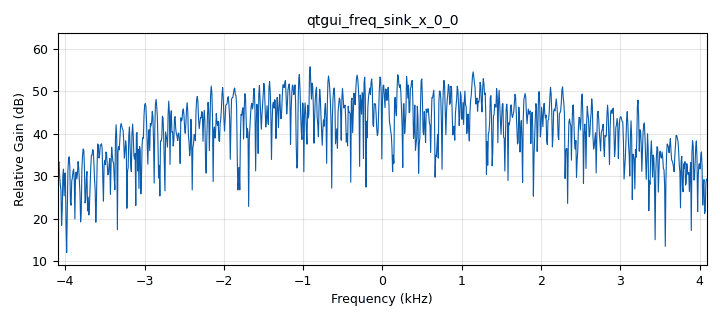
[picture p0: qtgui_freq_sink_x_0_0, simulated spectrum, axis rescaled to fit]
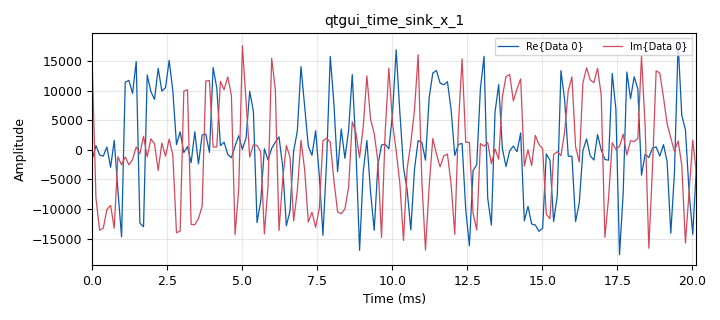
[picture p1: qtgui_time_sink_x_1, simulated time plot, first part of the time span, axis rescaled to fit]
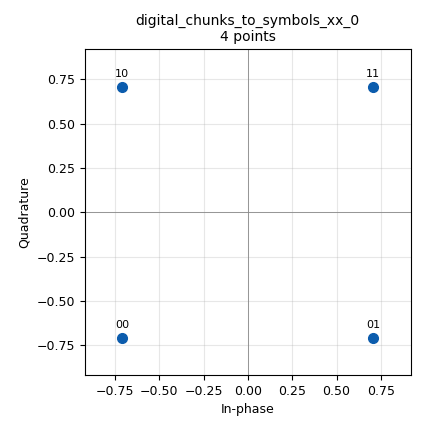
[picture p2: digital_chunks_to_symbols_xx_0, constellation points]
<?xml version='1.0' encoding='utf-8'?>
<?grc format='1' created='3.7.12'?>
<flow_graph>
<block>
<key>options</key>
<param><key>id</key><value>top_block</value></param>
<param><key>generate_options</key><value>qt_gui</value></param>
</block>
<block>
<key>variable</key>
<param><key>id</key><value>amp</value></param>
<param><key>value</key><value>8192</value></param>
</block>
<block>
<key>variable_qtgui_range</key>
<param><key>id</key><value>cf</value></param>
<param><key>value</key><value>100</value></param>
<param><key>orient</key><value>Qt.Horizontal</value></param>
<param><key>start</key><value>-samp_rate/2</value></param>
<param><key>step</key><value>1</value></param>
<param><key>stop</key><value>samp_rate/2</value></param>
</block>
<block>
<key>variable_constellation</key>
<param><key>id</key><value>cons</value></param>
<param><key>type</key><value>qpsk</value></param>
<param><key>precision</key><value>8</value></param>
</block>
<block>
<key>variable_qtgui_range</key>
<param><key>id</key><value>eps</value></param>
<param><key>value</key><value>0.01</value></param>
<param><key>orient</key><value>Qt.Horizontal</value></param>
<param><key>start</key><value>-2e-2</value></param>
<param><key>step</key><value>1e-5</value></param>
<param><key>stop</key><value>2e-2</value></param>
</block>
<block>
<key>variable_qtgui_range</key>
<param><key>id</key><value>noise</value></param>
<param><key>value</key><value>0.3</value></param>
<param><key>orient</key><value>Qt.Horizontal</value></param>
<param><key>start</key><value>0</value></param>
<param><key>step</key><value>0.01</value></param>
<param><key>stop</key><value>2</value></param>
</block>
<block>
<key>variable</key>
<param><key>id</key><value>npsk</value></param>
<param><key>value</key><value>cons.arity()</value></param>
</block>
<block>
<key>variable</key>
<param><key>id</key><value>samp_rate</value></param>
<param><key>value</key><value>1024*8</value></param>
</block>
<block>
<key>variable</key>
<param><key>id</key><value>sps</value></param>
<param><key>value</key><value>2</value></param>
</block>
<block>
<key>analog_random_source_x</key>
<param><key>id</key><value>analog_random_source_x_0</value></param>
<param><key>max</key><value>npsk</value></param>
<param><key>min</key><value>0</value></param>
<param><key>num_samps</key><value>1000</value></param>
<param><key>type</key><value>byte</value></param>
<param><key>repeat</key><value>True</value></param>
</block>
<block>
<key>blocks_complex_to_interleaved_short</key>
<param><key>id</key><value>blocks_complex_to_interleaved_short_0</value></param>
<param><key>vector_output</key><value>True</value></param>
</block>
<block>
<key>blocks_head</key>
<param><key>id</key><value>blocks_head_0</value></param>
<param><key>_enabled</key><value>2</value></param>
<param><key>num_items</key><value>samp_rate</value></param>
<param><key>type</key><value>short</value></param>
<param><key>vlen</key><value>2</value></param>
</block>
<block>
<key>blocks_interleaved_short_to_complex</key>
<param><key>id</key><value>blocks_interleaved_short_to_complex_0</value></param>
<param><key>vector_input</key><value>True</value></param>
</block>
<block>
<key>blocks_interleaved_short_to_complex</key>
<param><key>id</key><value>blocks_interleaved_short_to_complex_0_0</value></param>
<param><key>_enabled</key><value>0</value></param>
<param><key>vector_input</key><value>True</value></param>
</block>
<block>
<key>blocks_message_debug</key>
<param><key>id</key><value>blocks_message_debug_0</value></param>
</block>
<block>
<key>blocks_multiply_const_vxx</key>
<param><key>id</key><value>blocks_multiply_const_vxx_0</value></param>
<param><key>const</key><value>amp</value></param>
<param><key>type</key><value>complex</value></param>
</block>
<block>
<key>blocks_null_sink</key>
<param><key>id</key><value>blocks_null_sink_0</value></param>
<param><key>bus_conns</key><value>[[0,],]</value></param>
<param><key>_enabled</key><value>0</value></param>
<param><key>type</key><value>short</value></param>
<param><key>vlen</key><value>2</value></param>
</block>
<block>
<key>blocks_probe_rate</key>
<param><key>id</key><value>blocks_probe_rate_0</value></param>
<param><key>type</key><value>complex</value></param>
<param><key>mintime</key><value>500.0</value></param>
<param><key>alpha</key><value>0.15</value></param>
</block>
<block>
<key>blocks_repeat</key>
<param><key>id</key><value>blocks_repeat_0</value></param>
<param><key>interp</key><value>sps</value></param>
<param><key>type</key><value>complex</value></param>
</block>
<block>
<key>blocks_throttle</key>
<param><key>id</key><value>blocks_throttle_0</value></param>
<param><key>_enabled</key><value>2</value></param>
<param><key>samples_per_second</key><value>samp_rate</value></param>
<param><key>type</key><value>short</value></param>
<param><key>vlen</key><value>2</value></param>
</block>
<block>
<key>blocks_vector_source_x</key>
<param><key>id</key><value>blocks_vector_source_x_0</value></param>
<param><key>_enabled</key><value>0</value></param>
<param><key>type</key><value>byte</value></param>
<param><key>repeat</key><value>True</value></param>
<param><key>vector</key><value>range(0,npsk)</value></param>
</block>
<block>
<key>channels_channel_model</key>
<param><key>id</key><value>channels_channel_model_0_0</value></param>
<param><key>epsilon</key><value>1.0+eps</value></param>
<param><key>freq_offset</key><value>cf/samp_rate</value></param>
<param><key>noise_voltage</key><value>noise</value></param>
<param><key>seed</key><value>0</value></param>
<param><key>taps</key><value>1.0+1.0j</value></param>
</block>
<block>
<key>digital_chunks_to_symbols_xx</key>
<param><key>id</key><value>digital_chunks_to_symbols_xx_0</value></param>
<param><key>dimension</key><value>1</value></param>
<param><key>in_type</key><value>byte</value></param>
<param><key>out_type</key><value>complex</value></param>
<param><key>symbol_table</key><value>cons.points()</value></param>
</block>
<block>
<key>fastpsk_agc</key>
<param><key>id</key><value>fastpsk_agc_0</value></param>
<param><key>affinity</key><value>0</value></param>
<param><key>max_gain</key><value>65536</value></param>
<param><key>n</key><value>32</value></param>
<param><key>rate</key><value>1e-5</value></param>
<param><key>ref</key><value>amp</value></param>
</block>
<block>
<key>fastpsk_costas</key>
<param><key>id</key><value>fastpsk_costas_0</value></param>
<param><key>affinity</key><value>1</value></param>
<param><key>loop_bw</key><value>0.01</value></param>
<param><key>max_deviation</key><value>math.pi/8</value></param>
<param><key>n</key><value>8</value></param>
<param><key>order</key><value>npsk</value></param>
</block>
<block>
<key>fastpsk_mm_crec</key>
<param><key>id</key><value>fastpsk_mm_crec_0</value></param>
<param><key>affinity</key><value>2</value></param>
<param><key>loop_bw</key><value>0.01</value></param>
<param><key>max_deviation</key><value>0.05</value></param>
<param><key>n</key><value>8</value></param>
<param><key>sps</key><value>2</value></param>
</block>
<block>
<key>import</key>
<param><key>id</key><value>import_0</value></param>
<param><key>import</key><value>import math</value></param>
</block>
<block>
<key>import</key>
<param><key>id</key><value>import_0_0</value></param>
<param><key>import</key><value>import numpy</value></param>
</block>
<block>
<key>qtgui_const_sink_x</key>
<param><key>id</key><value>qtgui_const_sink_x_0</value></param>
<param><key>size</key><value>1024</value></param>
<param><key>type</key><value>complex</value></param>
<param><key>xmax</key><value>32768</value></param>
<param><key>xmin</key><value>-32768</value></param>
<param><key>ymax</key><value>32768</value></param>
<param><key>ymin</key><value>-32768</value></param>
</block>
<block>
<key>qtgui_freq_sink_x</key>
<param><key>id</key><value>qtgui_freq_sink_x_0</value></param>
<param><key>bw</key><value>samp_rate</value></param>
<param><key>fc</key><value>0</value></param>
<param><key>_enabled</key><value>0</value></param>
<param><key>fftsize</key><value>256</value></param>
<param><key>showports</key><value>True</value></param>
<param><key>type</key><value>complex</value></param>
<param><key>wintype</key><value>firdes.WIN_BLACKMAN_hARRIS</value></param>
</block>
<block>
<key>qtgui_freq_sink_x</key>
<param><key>id</key><value>qtgui_freq_sink_x_0_0</value></param>
<param><key>bw</key><value>samp_rate</value></param>
<param><key>fc</key><value>0</value></param>
<param><key>fftsize</key><value>1024</value></param>
<param><key>showports</key><value>True</value></param>
<param><key>type</key><value>complex</value></param>
<param><key>wintype</key><value>firdes.WIN_BLACKMAN_hARRIS</value></param>
</block>
<block>
<key>qtgui_time_sink_x</key>
<param><key>id</key><value>qtgui_time_sink_x_0</value></param>
<param><key>_enabled</key><value>0</value></param>
<param><key>color1</key><value>"blue"</value></param>
<param><key>label1</key><value></value></param>
<param><key>marker1</key><value>0</value></param>
<param><key>color2</key><value>"red"</value></param>
<param><key>label2</key><value></value></param>
<param><key>size</key><value>128</value></param>
<param><key>srate</key><value>samp_rate</value></param>
<param><key>type</key><value>complex</value></param>
<param><key>ymax</key><value>32768</value></param>
<param><key>ymin</key><value>-32768</value></param>
</block>
<block>
<key>qtgui_time_sink_x</key>
<param><key>id</key><value>qtgui_time_sink_x_0_0</value></param>
<param><key>_enabled</key><value>0</value></param>
<param><key>color1</key><value>"blue"</value></param>
<param><key>label1</key><value></value></param>
<param><key>marker1</key><value>0</value></param>
<param><key>color2</key><value>"red"</value></param>
<param><key>label2</key><value></value></param>
<param><key>size</key><value>128</value></param>
<param><key>srate</key><value>samp_rate</value></param>
<param><key>type</key><value>complex</value></param>
<param><key>ymax</key><value>32768</value></param>
<param><key>ymin</key><value>-32768</value></param>
</block>
<block>
<key>qtgui_time_sink_x</key>
<param><key>id</key><value>qtgui_time_sink_x_1</value></param>
<param><key>color1</key><value>"blue"</value></param>
<param><key>label1</key><value></value></param>
<param><key>color2</key><value>"red"</value></param>
<param><key>label2</key><value></value></param>
<param><key>size</key><value>1024</value></param>
<param><key>srate</key><value>samp_rate</value></param>
<param><key>type</key><value>complex</value></param>
</block>
<block>
<key>qtgui_time_sink_x</key>
<param><key>id</key><value>qtgui_time_sink_x_2</value></param>
<param><key>_enabled</key><value>0</value></param>
<param><key>color1</key><value>"blue"</value></param>
<param><key>label1</key><value></value></param>
<param><key>size</key><value>1024</value></param>
<param><key>srate</key><value>samp_rate</value></param>
<param><key>type</key><value>float</value></param>
</block>
<block>
<key>qtgui_time_sink_x</key>
<param><key>id</key><value>qtgui_time_sink_x_2_0</value></param>
<param><key>_enabled</key><value>0</value></param>
<param><key>color1</key><value>"blue"</value></param>
<param><key>label1</key><value></value></param>
<param><key>size</key><value>1024</value></param>
<param><key>srate</key><value>samp_rate</value></param>
<param><key>type</key><value>float</value></param>
</block>
<connection><source_block_id>analog_random_source_x_0</source_block_id><sink_block_id>digital_chunks_to_symbols_xx_0</sink_block_id><source_key>0</source_key><sink_key>0</sink_key></connection>
<connection><source_block_id>blocks_complex_to_interleaved_short_0</source_block_id><sink_block_id>blocks_throttle_0</sink_block_id><source_key>0</source_key><sink_key>0</sink_key></connection>
<connection><source_block_id>blocks_head_0</source_block_id><sink_block_id>blocks_interleaved_short_to_complex_0</sink_block_id><source_key>0</source_key><sink_key>0</sink_key></connection>
<connection><source_block_id>blocks_interleaved_short_to_complex_0</source_block_id><sink_block_id>blocks_probe_rate_0</sink_block_id><source_key>0</source_key><sink_key>0</sink_key></connection>
<connection><source_block_id>blocks_interleaved_short_to_complex_0</source_block_id><sink_block_id>qtgui_const_sink_x_0</sink_block_id><source_key>0</source_key><sink_key>0</sink_key></connection>
<connection><source_block_id>blocks_interleaved_short_to_complex_0</source_block_id><sink_block_id>qtgui_freq_sink_x_0</sink_block_id><source_key>0</source_key><sink_key>0</sink_key></connection>
<connection><source_block_id>blocks_interleaved_short_to_complex_0</source_block_id><sink_block_id>qtgui_time_sink_x_0</sink_block_id><source_key>0</source_key><sink_key>0</sink_key></connection>
<connection><source_block_id>blocks_interleaved_short_to_complex_0_0</source_block_id><sink_block_id>qtgui_time_sink_x_0_0</sink_block_id><source_key>0</source_key><sink_key>0</sink_key></connection>
<connection><source_block_id>blocks_multiply_const_vxx_0</source_block_id><sink_block_id>blocks_complex_to_interleaved_short_0</sink_block_id><source_key>0</source_key><sink_key>0</sink_key></connection>
<connection><source_block_id>blocks_multiply_const_vxx_0</source_block_id><sink_block_id>qtgui_freq_sink_x_0_0</sink_block_id><source_key>0</source_key><sink_key>0</sink_key></connection>
<connection><source_block_id>blocks_multiply_const_vxx_0</source_block_id><sink_block_id>qtgui_time_sink_x_1</sink_block_id><source_key>0</source_key><sink_key>0</sink_key></connection>
<connection><source_block_id>blocks_probe_rate_0</source_block_id><sink_block_id>blocks_message_debug_0</sink_block_id><source_key>rate</source_key><sink_key>print</sink_key></connection>
<connection><source_block_id>blocks_repeat_0</source_block_id><sink_block_id>channels_channel_model_0_0</sink_block_id><source_key>0</source_key><sink_key>0</sink_key></connection>
<connection><source_block_id>blocks_throttle_0</source_block_id><sink_block_id>fastpsk_agc_0</sink_block_id><source_key>0</source_key><sink_key>0</sink_key></connection>
<connection><source_block_id>blocks_vector_source_x_0</source_block_id><sink_block_id>digital_chunks_to_symbols_xx_0</sink_block_id><source_key>0</source_key><sink_key>0</sink_key></connection>
<connection><source_block_id>channels_channel_model_0_0</source_block_id><sink_block_id>blocks_multiply_const_vxx_0</sink_block_id><source_key>0</source_key><sink_key>0</sink_key></connection>
<connection><source_block_id>digital_chunks_to_symbols_xx_0</source_block_id><sink_block_id>blocks_repeat_0</sink_block_id><source_key>0</source_key><sink_key>0</sink_key></connection>
<connection><source_block_id>fastpsk_agc_0</source_block_id><sink_block_id>fastpsk_costas_0</sink_block_id><source_key>0</source_key><sink_key>0</sink_key></connection>
<connection><source_block_id>fastpsk_costas_0</source_block_id><sink_block_id>qtgui_time_sink_x_2_0</sink_block_id><source_key>1</source_key><sink_key>0</sink_key></connection>
<connection><source_block_id>fastpsk_costas_0</source_block_id><sink_block_id>fastpsk_mm_crec_0</sink_block_id><source_key>0</source_key><sink_key>0</sink_key></connection>
<connection><source_block_id>fastpsk_mm_crec_0</source_block_id><sink_block_id>qtgui_time_sink_x_2</sink_block_id><source_key>1</source_key><sink_key>0</sink_key></connection>
<connection><source_block_id>fastpsk_mm_crec_0</source_block_id><sink_block_id>blocks_head_0</sink_block_id><source_key>0</source_key><sink_key>0</sink_key></connection>
<connection><source_block_id>fastpsk_mm_crec_0</source_block_id><sink_block_id>blocks_interleaved_short_to_complex_0_0</sink_block_id><source_key>0</source_key><sink_key>0</sink_key></connection>
<connection><source_block_id>fastpsk_mm_crec_0</source_block_id><sink_block_id>blocks_null_sink_0</sink_block_id><source_key>0</source_key><sink_key>0</sink_key></connection>
</flow_graph>
